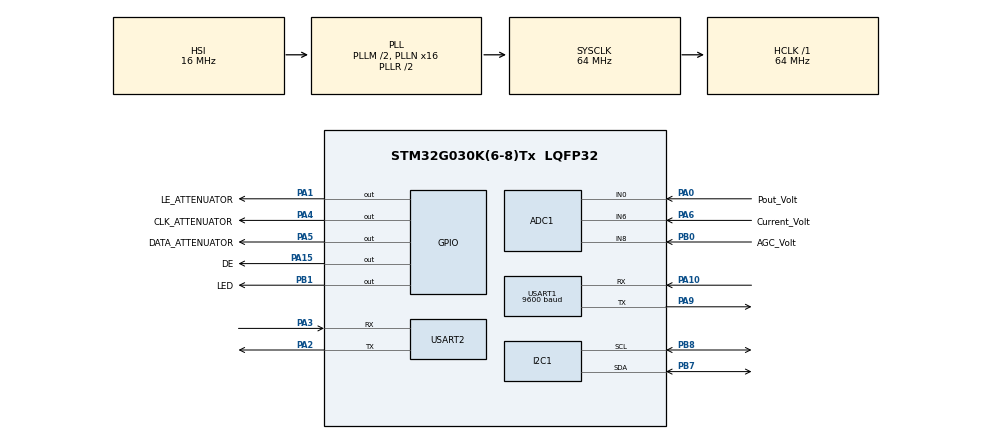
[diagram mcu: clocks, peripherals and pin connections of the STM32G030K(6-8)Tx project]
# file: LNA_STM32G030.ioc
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ADC1.Channel-9\#ChannelRegularConversion=ADC_CHANNEL_0
ADC1.NbrOfConversionFlag=1
ADC1.Rank-9\#ChannelRegularConversion=1
ADC1.SamplingTime-9\#ChannelRegularConversion=ADC_SAMPLINGTIME_COMMON_1
ADC1.SelectedChannel=ADC_CHANNEL_0|ADC_CHANNEL_6|ADC_CHANNEL_8
ADC1.master=1
Dma.Request0=USART1_RX
Dma.USART1_RX.0.Direction=DMA_PERIPH_TO_MEMORY
Dma.USART1_RX.0.EventEnable=DISABLE
Dma.USART1_RX.0.Instance=DMA1_Channel1
Dma.USART1_RX.0.MemDataAlignment=DMA_MDATAALIGN_BYTE
Dma.USART1_RX.0.MemInc=DMA_MINC_ENABLE
Dma.USART1_RX.0.Mode=DMA_CIRCULAR
Dma.USART1_RX.0.PeriphDataAlignment=DMA_PDATAALIGN_BYTE
Dma.USART1_RX.0.PeriphInc=DMA_PINC_DISABLE
Dma.USART1_RX.0.Polarity=HAL_DMAMUX_REQ_GEN_RISING
Dma.USART1_RX.0.Priority=DMA_PRIORITY_LOW
Dma.USART1_RX.0.RequestNumber=1
Dma.USART1_RX.0.SignalID=NONE
Dma.USART1_RX.0.SyncEnable=DISABLE
Dma.USART1_RX.0.SyncPolarity=HAL_DMAMUX_SYNC_NO_EVENT
Dma.USART1_RX.0.SyncRequestNumber=1
Dma.USART1_RX.0.SyncSignalID=NONE
I2C1.Timing=0x10707DBC
Mcu.Family=STM32G0
Mcu.Name=STM32G030K(6-8)Tx
Mcu.Package=LQFP32
NVIC.DMA1_Channel1_IRQn=true\:0\:0\:false\:false\:true\:false\:true\:true
PA0.GPIO_Label=Pout_Volt
PA0.Mode=IN0
PA0.Signal=ADC1_IN0
PA1.GPIO_Label=LE_ATTENUATOR
PA1.Signal=GPIO_Output
PA10.Mode=Asynchronous
PA10.Signal=USART1_RX
PA13.Mode=Serial_Wire
PA13.Signal=SYS_SWDIO
PA14-BOOT0.Mode=Serial_Wire
PA14-BOOT0.Signal=SYS_SWCLK
PA15.GPIO_Label=DE
PA15.Signal=GPIO_Output
PA2.Mode=Asynchronous
PA2.Signal=USART2_TX
PA3.Mode=Asynchronous
PA3.Signal=USART2_RX
PA4.GPIO_Label=CLK_ATTENUATOR
PA4.Signal=GPIO_Output
PA5.GPIO_Label=DATA_ATTENUATOR
PA5.Signal=GPIO_Output
PA6.GPIO_Label=Current_Volt
PA6.Mode=IN6
PA6.Signal=ADC1_IN6
PA9.Mode=Asynchronous
PA9.Signal=USART1_TX
PB0.GPIO_Label=AGC_Volt
PB0.Signal=SharedAnalog_PB0
PB1.GPIO_Label=LED
PB1.Signal=GPIO_Output
PB7.Mode=I2C
PB7.Signal=I2C1_SDA
PB8.Mode=I2C
PB8.Signal=I2C1_SCL
ProjectManager.HeapSize=0x200
ProjectManager.StackSize=0x400
ProjectManager.TargetToolchain=STM32CubeIDE
RCC.ADCFreq_Value=64000000
RCC.AHBFreq_Value=64000000
RCC.CortexFreq_Value=64000000
RCC.EXTERNAL_CLOCK_VALUE=12288000
RCC.HCLKFreq_Value=64000000
RCC.HSE_VALUE=8000000
RCC.HSI_VALUE=16000000
RCC.LSE_VALUE=32768
RCC.PLLM=RCC_PLLM_DIV2
RCC.PLLN=16
RCC.SYSCLKFreq_VALUE=64000000
RCC.SYSCLKSource=RCC_SYSCLKSOURCE_PLLCLK
RCC.VCOOutputFreq_Value=128000000
SH.SharedAnalog_PB0.0=GPIO_Analog
SH.SharedAnalog_PB0.1=ADC1_IN8,IN8
USART1.BaudRate=9600
USART1.VirtualMode-Asynchronous=VM_ASYNC
USART2.VirtualMode-Asynchronous=VM_ASYNC
board=custom

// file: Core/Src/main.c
/* USER CODE BEGIN Header */
/**
 ******************************************************************************
 * @file           : main.c
 * @brief          : Main program body
 ******************************************************************************
 * @attention
 *
 * Copyright (c) 2022 STMicroelectronics.
 * All rights reserved.
 *
 * This software is licensed under terms that can be found in the LICENSE file
 * in the root directory of this software component.
 * If no LICENSE file comes with this software, it is provided AS-IS.
 *
 ******************************************************************************
 */
/* USER CODE END Header */
#include "main.h"

ADC_HandleTypeDef hadc1;

I2C_HandleTypeDef hi2c1;

UART_HandleTypeDef huart1;
UART_HandleTypeDef huart2;
DMA_HandleTypeDef hdma_usart1_rx;

/* USER CODE BEGIN PV */
static const uint8_t LNA_ADDR = 0x48 << 1; // Use 8-bit address
static const uint8_t REG_TEMP = 0x00;
uint8_t aRxBuffer[1]; // usado para recibir datos enviados por puerto serie
uint16_t get_crc(uint8_t buffer[], uint8_t buff_len);

static const uint8_t START_MARK = 0x7e;
static const uint8_t END_MARK = 0x7f;
static const uint8_t BUFF_SIZE = 30;
static uint8_t data_arrive = 0;
#define LNA_ID 0x00;

/* USER CODE END PV */

void SystemClock_Config(void);
static void MX_GPIO_Init(void);
static void MX_ADC1_Init(void);
static void MX_I2C1_Init(void);
static void MX_DMA_Init(void);
static void MX_USART1_UART_Init(void);
static void MX_USART2_UART_Init(void);

/* USER CODE BEGIN 0 */
uint16_t get_crc(uint8_t buffer[], uint8_t buff_len) {
	uint8_t b;
	uint8_t i;
	uint16_t generator = 0x1021; //divisor is 16bit
	uint16_t crc = 0;			 // CRC value is 16bit

	for (b = 0; b < buff_len; b++) {
		crc ^= ((uint16_t) (buffer[b] << 8)); // move byte into MSB of 16bit CRC

		for (i = 0; i < 8; i++) {
			if ((crc & 0x8000) != 0) // test for MSB = bit 15
					{
				crc = ((uint16_t) ((crc << 1) ^ generator));
			} else {
				crc <<= 1;
			}
		}
	}

	return crc;
}

uint8_t UART1_rxBuffer[20] = { 0 };
//---------[ UART Data Reception Completion CallBackFunc. ]---------
void HAL_UART_RxCpltCallback(UART_HandleTypeDef *huart) {
	data_arrive = 1;
//HAL_UART_Receive_DMA(&huart1, UART1_rxBuffer, 20);
}

uint8_t check_crc(uint8_t rcv_frame[25], int rcv_len) {
	uint8_t crc_frame[2];
	uint16_t crc;
	uint8_t crc_valid = 1;

	crc = get_crc(rcv_frame, rcv_len);
	crc_frame[1] = crc >> 8;
	crc_frame[0] = crc;
	if (crc_frame[0] == rcv_frame[rcv_len]
			&& crc_frame[1] == rcv_frame[rcv_len + 1]) {
		crc_valid = 1;
	} else {
		crc_valid = 0;
	}
	return crc_valid;;
}

/* USER CODE END 0 */

int main(void) {

	/* MCU Configuration--------------------------------------------------------*/

	/* Reset of all peripherals, Initializes the Flash interface and the Systick. */
	HAL_Init();

	/* Configure the system clock */
	SystemClock_Config();

	/* Initialize all configured peripherals */
	MX_GPIO_Init();
	MX_ADC1_Init();
	MX_I2C1_Init();
	MX_DMA_Init();
	MX_USART1_UART_Init();
	MX_USART2_UART_Init();
	/* USER CODE BEGIN 2 */

	uint8_t rcv_frame[25];
	uint8_t  rcv_len;
	uint32_t last_ticker;
	uint32_t current_ticker;
	uint8_t counter = 0;
	uint8_t bytes_readed = 0;

	/* USER CODE END 2 */

	/* Infinite loop */
	/* USER CODE BEGIN WHILE */
	HAL_UART_Receive_DMA(&huart1, UART1_rxBuffer, 20);
	while (1) {

		current_ticker = HAL_GetTick();
		if (current_ticker - last_ticker > 800) {
			last_ticker = HAL_GetTick();
			uint8_t mask = 0b00100000;
			for (uint8_t i = 0; i < 6; i++) { //Ciclo for de 6 vueltas para enviar los 6bits de configuración
				if (mask & counter) { //Si el bit de la mascara en 1 coincide con el bit del valor, entonces
					HAL_GPIO_WritePin(GPIOA, DATA_ATTENUATOR_Pin, GPIO_PIN_SET); //Pin data en alto
				} else {                                                 //Sino,
					HAL_GPIO_WritePin(GPIOA, DATA_ATTENUATOR_Pin,
							GPIO_PIN_RESET);                  //Pin data en bajo
				}
				HAL_GPIO_WritePin(GPIOA, CLK_ATTENUATOR_Pin, GPIO_PIN_SET); //Pin clock en alto
				HAL_Delay(1);                                 //Delay de 1mS
				HAL_GPIO_WritePin(GPIOA, CLK_ATTENUATOR_Pin, GPIO_PIN_RESET); //Pin clock en bajo
				mask = mask >> 1;                //Muevo la máscara una posición
			}

			HAL_GPIO_WritePin(GPIOA, LE_ATTENUATOR_Pin, GPIO_PIN_SET); //Pin LE en alto
			HAL_Delay(1);
			HAL_GPIO_WritePin(GPIOA, LE_ATTENUATOR_Pin, GPIO_PIN_RESET); //Pin LE en bajo
			counter++;
			if (counter > 32) {
				counter = 0;
			}
		}

		//Fin function 1 second
		/* USER CODE END WHILE */

		/* USER CODE BEGIN 3 */

		bytes_readed = sizeof(UART1_rxBuffer)
				- (huart1.hdmarx->Instance->CNDTR);

		if (bytes_readed > 7) {
			int j = 0;
			int i = 1;
			HAL_Delay(50);
			if (UART1_rxBuffer[0] == START_MARK) {
				while (i <= bytes_readed) {
					rcv_frame[j++] = UART1_rxBuffer[i++];
					if (UART1_rxBuffer[i] == END_MARK) {
						rcv_len = j - 2;
						uint8_t is_crc_ok = check_crc(rcv_frame, rcv_len);
						if (is_crc_ok) {
							HAL_GPIO_WritePin(GPIOA, DE_Pin, GPIO_PIN_SET); //Pin LE en alto
							//	osDelay(10);
							HAL_UART_Transmit(&huart1, rcv_frame, rcv_len,
									100);
							HAL_GPIO_WritePin(GPIOA, DE_Pin, GPIO_PIN_RESET); //Pin LE en alto
							//	osDelay(10);

						} else {

						}

						for (uint8_t i = 0; i < sizeof(UART1_rxBuffer); i++) {
							UART1_rxBuffer[i] = 0;
						}
						for (uint8_t i = 0; i < sizeof(rcv_frame); i++) {
							rcv_frame[i] = 0;
						}

						break;
					}
				}
			}
			huart1.hdmarx->Instance->CCR &= ~DMA_CCR_EN; // disable
			huart1.hdmarx->Instance->CNDTR = 20; // reset counter
			huart1.hdmarx->Instance->CCR |= DMA_CCR_EN; // re-enable
			HAL_UART_Receive_DMA(&huart1, UART1_rxBuffer, 20);
		}

	}   //Fin while
	/* USER CODE END 3 */
}

void SystemClock_Config(void) {
	RCC_OscInitTypeDef RCC_OscInitStruct = { 0 };
	RCC_ClkInitTypeDef RCC_ClkInitStruct = { 0 };

	/** Configure the main internal regulator output voltage
	 */
	HAL_PWREx_ControlVoltageScaling(PWR_REGULATOR_VOLTAGE_SCALE1);

	/** Initializes the RCC Oscillators according to the specified parameters
	 * in the RCC_OscInitTypeDef structure.
	 */
	RCC_OscInitStruct.OscillatorType = RCC_OSCILLATORTYPE_HSI;
	RCC_OscInitStruct.HSIState = RCC_HSI_ON;
	RCC_OscInitStruct.HSIDiv = RCC_HSI_DIV1;
	RCC_OscInitStruct.HSICalibrationValue = RCC_HSICALIBRATION_DEFAULT;
	RCC_OscInitStruct.PLL.PLLState = RCC_PLL_ON;
	RCC_OscInitStruct.PLL.PLLSource = RCC_PLLSOURCE_HSI;
	RCC_OscInitStruct.PLL.PLLM = RCC_PLLM_DIV2;
	RCC_OscInitStruct.PLL.PLLN = 16;
	RCC_OscInitStruct.PLL.PLLP = RCC_PLLP_DIV2;
	RCC_OscInitStruct.PLL.PLLR = RCC_PLLR_DIV2;
	if (HAL_RCC_OscConfig(&RCC_OscInitStruct) != HAL_OK) {
		Error_Handler();
	}

	/** Initializes the CPU, AHB and APB buses clocks
	 */
	RCC_ClkInitStruct.ClockType = RCC_CLOCKTYPE_HCLK | RCC_CLOCKTYPE_SYSCLK
			| RCC_CLOCKTYPE_PCLK1;
	RCC_ClkInitStruct.SYSCLKSource = RCC_SYSCLKSOURCE_PLLCLK;
	RCC_ClkInitStruct.AHBCLKDivider = RCC_SYSCLK_DIV1;
	RCC_ClkInitStruct.APB1CLKDivider = RCC_HCLK_DIV1;

	if (HAL_RCC_ClockConfig(&RCC_ClkInitStruct, FLASH_LATENCY_2) != HAL_OK) {
		Error_Handler();
	}
}

static void MX_ADC1_Init(void) {

	ADC_ChannelConfTypeDef sConfig = { 0 };

	/** Configure the global features of the ADC (Clock, Resolution, Data Alignment and number of conversion)
	 */
	hadc1.Instance = ADC1;
	hadc1.Init.ClockPrescaler = ADC_CLOCK_SYNC_PCLK_DIV2;
	hadc1.Init.Resolution = ADC_RESOLUTION_12B;
	hadc1.Init.DataAlign = ADC_DATAALIGN_RIGHT;
	hadc1.Init.ScanConvMode = ADC_SCAN_DISABLE;
	hadc1.Init.EOCSelection = ADC_EOC_SINGLE_CONV;
	hadc1.Init.LowPowerAutoWait = DISABLE;
	hadc1.Init.LowPowerAutoPowerOff = DISABLE;
	hadc1.Init.ContinuousConvMode = DISABLE;
	hadc1.Init.NbrOfConversion = 1;
	hadc1.Init.ExternalTrigConv = ADC_SOFTWARE_START;
	hadc1.Init.ExternalTrigConvEdge = ADC_EXTERNALTRIGCONVEDGE_NONE;
	hadc1.Init.DMAContinuousRequests = DISABLE;
	hadc1.Init.Overrun = ADC_OVR_DATA_PRESERVED;
	hadc1.Init.SamplingTimeCommon1 = ADC_SAMPLETIME_1CYCLE_5;
	hadc1.Init.SamplingTimeCommon2 = ADC_SAMPLETIME_1CYCLE_5;
	hadc1.Init.OversamplingMode = DISABLE;
	hadc1.Init.TriggerFrequencyMode = ADC_TRIGGER_FREQ_HIGH;
	if (HAL_ADC_Init(&hadc1) != HAL_OK) {
		Error_Handler();
	}

	/** Configure Regular Channel
	 */
	sConfig.Channel = ADC_CHANNEL_0;
	sConfig.Rank = ADC_REGULAR_RANK_1;
	sConfig.SamplingTime = ADC_SAMPLINGTIME_COMMON_1;
	if (HAL_ADC_ConfigChannel(&hadc1, &sConfig) != HAL_OK) {
		Error_Handler();
	}

}

static void MX_I2C1_Init(void) {

	hi2c1.Instance = I2C1;
	hi2c1.Init.Timing = 0x10707DBC;
	hi2c1.Init.OwnAddress1 = 0;
	hi2c1.Init.AddressingMode = I2C_ADDRESSINGMODE_7BIT;
	hi2c1.Init.DualAddressMode = I2C_DUALADDRESS_DISABLE;
	hi2c1.Init.OwnAddress2 = 0;
	hi2c1.Init.OwnAddress2Masks = I2C_OA2_NOMASK;
	hi2c1.Init.GeneralCallMode = I2C_GENERALCALL_DISABLE;
	hi2c1.Init.NoStretchMode = I2C_NOSTRETCH_DISABLE;
	if (HAL_I2C_Init(&hi2c1) != HAL_OK) {
		Error_Handler();
	}

	/** Configure Analogue filter
	 */
	if (HAL_I2CEx_ConfigAnalogFilter(&hi2c1, I2C_ANALOGFILTER_ENABLE)
			!= HAL_OK) {
		Error_Handler();
	}

	/** Configure Digital filter
	 */
	if (HAL_I2CEx_ConfigDigitalFilter(&hi2c1, 0) != HAL_OK) {
		Error_Handler();
	}

}

static void MX_USART1_UART_Init(void) {

	huart1.Instance = USART1;
	huart1.Init.BaudRate = 9600;
	huart1.Init.WordLength = UART_WORDLENGTH_8B;
	huart1.Init.StopBits = UART_STOPBITS_1;
	huart1.Init.Parity = UART_PARITY_NONE;
	huart1.Init.Mode = UART_MODE_TX_RX;
	huart1.Init.HwFlowCtl = UART_HWCONTROL_NONE;
	huart1.Init.OverSampling = UART_OVERSAMPLING_16;
	huart1.Init.OneBitSampling = UART_ONE_BIT_SAMPLE_DISABLE;
	huart1.Init.ClockPrescaler = UART_PRESCALER_DIV1;
	huart1.AdvancedInit.AdvFeatureInit = UART_ADVFEATURE_NO_INIT;
	if (HAL_UART_Init(&huart1) != HAL_OK) {
		Error_Handler();
	}
	if (HAL_UARTEx_SetTxFifoThreshold(&huart1, UART_TXFIFO_THRESHOLD_1_8)
			!= HAL_OK) {
		Error_Handler();
	}
	if (HAL_UARTEx_SetRxFifoThreshold(&huart1, UART_RXFIFO_THRESHOLD_1_8)
			!= HAL_OK) {
		Error_Handler();
	}
	if (HAL_UARTEx_DisableFifoMode(&huart1) != HAL_OK) {
		Error_Handler();
	}

}

static void MX_USART2_UART_Init(void) {

	huart2.Instance = USART2;
	huart2.Init.BaudRate = 115200;
	huart2.Init.WordLength = UART_WORDLENGTH_8B;
	huart2.Init.StopBits = UART_STOPBITS_1;
	huart2.Init.Parity = UART_PARITY_NONE;
	huart2.Init.Mode = UART_MODE_TX_RX;
	huart2.Init.HwFlowCtl = UART_HWCONTROL_NONE;
	huart2.Init.OverSampling = UART_OVERSAMPLING_16;
	huart2.Init.OneBitSampling = UART_ONE_BIT_SAMPLE_DISABLE;
	huart2.Init.ClockPrescaler = UART_PRESCALER_DIV1;
	huart2.AdvancedInit.AdvFeatureInit = UART_ADVFEATURE_NO_INIT;
	if (HAL_UART_Init(&huart2) != HAL_OK) {
		Error_Handler();
	}

}

static void MX_DMA_Init(void) {

	/* DMA controller clock enable */
	__HAL_RCC_DMA1_CLK_ENABLE();

	/* DMA interrupt init */
	/* DMA1_Channel1_IRQn interrupt configuration */
	HAL_NVIC_SetPriority(DMA1_Channel1_IRQn, 0, 0);
	HAL_NVIC_EnableIRQ(DMA1_Channel1_IRQn);

}

static void MX_GPIO_Init(void) {
	GPIO_InitTypeDef GPIO_InitStruct = { 0 };

	/* GPIO Ports Clock Enable */
	__HAL_RCC_GPIOA_CLK_ENABLE();
	__HAL_RCC_GPIOB_CLK_ENABLE();

	/*Configure GPIO pin Output Level */
	HAL_GPIO_WritePin(GPIOA,
	LE_ATTENUATOR_Pin | CLK_ATTENUATOR_Pin | DATA_ATTENUATOR_Pin | DE_Pin,
			GPIO_PIN_RESET);

	/*Configure GPIO pin Output Level */
	HAL_GPIO_WritePin(LED_GPIO_Port, LED_Pin, GPIO_PIN_RESET);

	/*Configure GPIO pins : LE_ATTENUATOR_Pin CLK_ATTENUATOR_Pin DATA_ATTENUATOR_Pin DE_Pin */
	GPIO_InitStruct.Pin = LE_ATTENUATOR_Pin | CLK_ATTENUATOR_Pin
			| DATA_ATTENUATOR_Pin | DE_Pin;
	GPIO_InitStruct.Mode = GPIO_MODE_OUTPUT_PP;
	GPIO_InitStruct.Pull = GPIO_NOPULL;
	GPIO_InitStruct.Speed = GPIO_SPEED_FREQ_LOW;
	HAL_GPIO_Init(GPIOA, &GPIO_InitStruct);

	/*Configure GPIO pin : LED_Pin */
	GPIO_InitStruct.Pin = LED_Pin;
	GPIO_InitStruct.Mode = GPIO_MODE_OUTPUT_PP;
	GPIO_InitStruct.Pull = GPIO_NOPULL;
	GPIO_InitStruct.Speed = GPIO_SPEED_FREQ_LOW;
	HAL_GPIO_Init(LED_GPIO_Port, &GPIO_InitStruct);

}

void Error_Handler(void) {
	__disable_irq();
	while (1) {
	}
}
